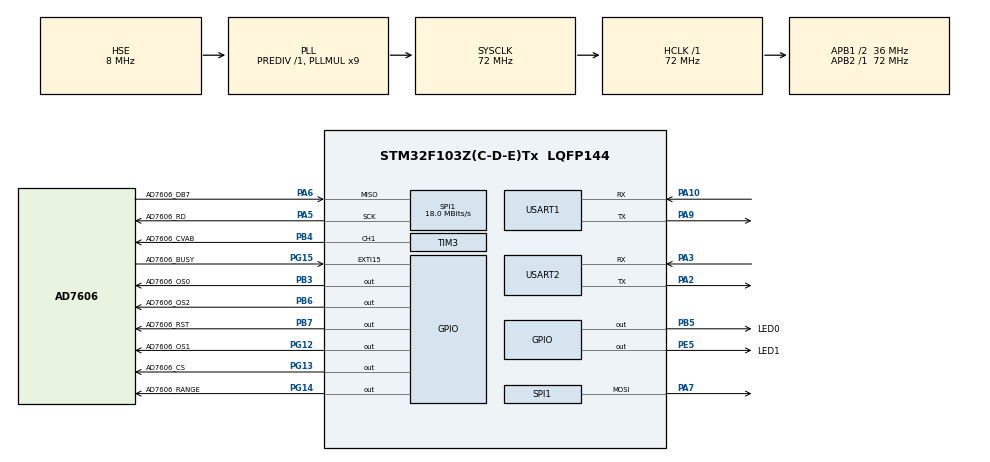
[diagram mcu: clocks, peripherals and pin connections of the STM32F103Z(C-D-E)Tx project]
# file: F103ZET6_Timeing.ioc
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Mcu.Family=STM32F1
Mcu.Name=STM32F103Z(C-D-E)Tx
Mcu.Package=LQFP144
NVIC.EXTI15_10_IRQn=true\:0\:2\:true\:false\:true\:true\:true\:true
NVIC.PriorityGroup=NVIC_PRIORITYGROUP_2
OSC_IN.Mode=HSE-External-Oscillator
OSC_IN.Signal=RCC_OSC_IN
OSC_OUT.Mode=HSE-External-Oscillator
OSC_OUT.Signal=RCC_OSC_OUT
PA10.Mode=Asynchronous
PA10.Signal=USART1_RX
PA13.Mode=Serial_Wire
PA13.Signal=SYS_JTMS-SWDIO
PA14.Mode=Serial_Wire
PA14.Signal=SYS_JTCK-SWCLK
PA2.Mode=Asynchronous
PA2.Signal=USART2_TX
PA3.Mode=Asynchronous
PA3.Signal=USART2_RX
PA5.GPIO_Label=AD7606_RD
PA5.Mode=Full_Duplex_Master
PA5.Signal=SPI1_SCK
PA6.GPIO_Label=AD7606_DB7
PA6.Mode=Full_Duplex_Master
PA6.Signal=SPI1_MISO
PA7.Mode=Full_Duplex_Master
PA7.Signal=SPI1_MOSI
PA9.Mode=Asynchronous
PA9.Signal=USART1_TX
PB3.GPIO_Label=AD7606_OS0
PB3.Signal=GPIO_Output
PB4.GPIO_Label=AD7606_CVAB
PB4.Signal=S_TIM3_CH1
PB5.GPIO_Label=LED0
PB5.GPIO_ModeDefaultOutputPP=GPIO_MODE_OUTPUT_OD
PB5.GPIO_PuPd=GPIO_PULLUP
PB5.GPIO_Speed=GPIO_SPEED_FREQ_HIGH
PB5.PinState=GPIO_PIN_RESET
PB5.Signal=GPIO_Output
PB6.GPIO_Label=AD7606_OS2
PB6.Signal=GPIO_Output
PB7.GPIO_Label=AD7606_RST
PB7.Signal=GPIO_Output
PE5.GPIO_Label=LED1
PE5.GPIO_ModeDefaultOutputPP=GPIO_MODE_OUTPUT_OD
PE5.GPIO_PuPd=GPIO_PULLUP
PE5.GPIO_Speed=GPIO_SPEED_FREQ_HIGH
PE5.PinState=GPIO_PIN_RESET
PE5.Signal=GPIO_Output
PG12.GPIO_Label=AD7606_OS1
PG12.Signal=GPIO_Output
PG13.GPIO_Label=AD7606_CS
PG13.PinState=GPIO_PIN_SET
PG13.Signal=GPIO_Output
PG14.GPIO_Label=AD7606_RANGE
PG14.Signal=GPIO_Output
PG15.GPIO_Label=AD7606_BUSY
PG15.GPIO_ModeDefaultEXTI=GPIO_MODE_IT_FALLING
PG15.GPIO_PuPd=GPIO_PULLUP
PG15.Signal=GPXTI15
ProjectManager.HeapSize=0x200
ProjectManager.StackSize=0x400
ProjectManager.TargetToolchain=MDK-ARM V5.32
RCC.AHBFreq_Value=72000000
RCC.APB1CLKDivider=RCC_HCLK_DIV2
RCC.APB1Freq_Value=36000000
RCC.APB1TimFreq_Value=72000000
RCC.APB2Freq_Value=72000000
RCC.APB2TimFreq_Value=72000000
RCC.HCLKFreq_Value=72000000
RCC.PLLMUL=RCC_PLL_MUL9
RCC.PLLSourceVirtual=RCC_PLLSOURCE_HSE
RCC.SYSCLKFreq_VALUE=72000000
RCC.SYSCLKSource=RCC_SYSCLKSOURCE_PLLCLK
RCC.USBFreq_Value=72000000
SH.S_TIM3_CH1.0=TIM3_CH1,PWM Generation1 CH1
SPI1.BaudRatePrescaler=SPI_BAUDRATEPRESCALER_4
SPI1.CLKPolarity=SPI_POLARITY_HIGH
SPI1.CalculateBaudRate=18.0 MBits/s
SPI1.DataSize=SPI_DATASIZE_16BIT
SPI1.Direction=SPI_DIRECTION_2LINES
SPI1.Mode=SPI_MODE_MASTER
SPI1.VirtualType=VM_MASTER
TIM3.Channel-PWM\ Generation1\ CH1=TIM_CHANNEL_1
TIM3.Period=1000-1
TIM3.Prescaler=36-1
TIM3.Pulse-PWM\ Generation1\ CH1=999-1
USART1.VirtualMode=VM_ASYNC
USART2.VirtualMode=VM_ASYNC
VP_TIM3_VS_ClockSourceINT.Mode=Internal
board=custom

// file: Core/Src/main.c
/* USER CODE BEGIN Header */
/**
  ******************************************************************************
  * @file           : main.c
  * @brief          : Main program body
  ******************************************************************************
  * @attention
  *
  * Copyright (c) 2023 STMicroelectronics.
  * All rights reserved.
  *
  * This software is licensed under terms that can be found in the LICENSE file
  * in the root directory of this software component.
  * If no LICENSE file comes with this software, it is provided AS-IS.
  *
  ******************************************************************************
  */
/* USER CODE END Header */
#include "main.h"
#include "spi.h"
#include "tim.h"
#include "usart.h"
#include "gpio.h"

/* USER CODE BEGIN Includes */
#include <stdio.h>
#include "ad7606.h"
#include <string.h>
#include <math.h>
/* USER CODE END Includes */

/* USER CODE BEGIN PM */
#define SAMPLING_POINTS  2
#define SAMPLING_FREQ 2000
#define SAMPLING_CHANNEL 2
#define RS485_PACK_SIZE 16
/* USER CODE END PM */

/* USER CODE BEGIN PV */

uint16_t ad7606Buff[SAMPLING_POINTS*SAMPLING_CHANNEL] = {0};
volatile uint8_t ad7606SamplingDoneFlag = 0;
uint8_t Flag = 0;
uint16_t nums = 0;

/* Table of CRC values for high¡§Corder byte */

/* Table of CRC values for low¡§Corder byte */

/* USER CODE END PV */

void SystemClock_Config(void);
/* USER CODE BEGIN PFP */

int16_t getADCValue(uint16_t code);
uint32_t AD7606ConvValue1(uint16_t code);

/* USER CODE END PFP */

int main(void)
{

  /* MCU Configuration--------------------------------------------------------*/

  /* Reset of all peripherals, Initializes the Flash interface and the Systick. */
  HAL_Init();

  /* Configure the system clock */
  SystemClock_Config();

  /* Initialize all configured peripherals */
  MX_GPIO_Init();
  MX_USART1_UART_Init();
  MX_SPI1_Init();
  MX_TIM3_Init();
  MX_USART2_UART_Init();
  /* USER CODE BEGIN 2 */

	AD7606Init();
	uint16_t cnt=0;

	HAL_Delay(50);
	AD7606Start();
	HAL_Delay(1);
	AD7606Stop();

  /* USER CODE END 2 */

  /* Infinite loop */
  while (1)
  {

    /* USER CODE BEGIN 3 */
		cnt++;
		HAL_Delay(20);

		if (cnt%10==0)
		{
			HAL_GPIO_TogglePin(LED1_GPIO_Port,LED1_Pin);
		}

		if(cnt==10*2)
		{
			memset(ad7606Buff,0,sizeof(ad7606Buff));
//			printf("AD7606 sampling start! \r\n");
			AD7606Start();
			cnt=0;
			nums=0;
		}

		if( ad7606SamplingDoneFlag )
		{
			AD7606Stop();
			ad7606SamplingDoneFlag = 0;
//	printf("AD7606 sampling end ! \r\n");
//	printf("data=%d mV   data2=0x%x \r\n",AD7606ConvValue1(ad7606Buff[0]),ad7606Buff[1]);
            printf("data1=%d mV data2=0x%x \r\n",AD7606ConvValue1(ad7606Buff[0]),ad7606Buff[1]);
		}
  }
  /* USER CODE END 3 */
}

void SystemClock_Config(void)
{
  RCC_OscInitTypeDef RCC_OscInitStruct = {0};
  RCC_ClkInitTypeDef RCC_ClkInitStruct = {0};

  /** Initializes the RCC Oscillators according to the specified parameters
  * in the RCC_OscInitTypeDef structure.
  */
  RCC_OscInitStruct.OscillatorType = RCC_OSCILLATORTYPE_HSE;
  RCC_OscInitStruct.HSEState = RCC_HSE_ON;
  RCC_OscInitStruct.HSEPredivValue = RCC_HSE_PREDIV_DIV1;
  RCC_OscInitStruct.HSIState = RCC_HSI_ON;
  RCC_OscInitStruct.PLL.PLLState = RCC_PLL_ON;
  RCC_OscInitStruct.PLL.PLLSource = RCC_PLLSOURCE_HSE;
  RCC_OscInitStruct.PLL.PLLMUL = RCC_PLL_MUL9;
  if (HAL_RCC_OscConfig(&RCC_OscInitStruct) != HAL_OK)
  {
    Error_Handler();
  }

  /** Initializes the CPU, AHB and APB buses clocks
  */
  RCC_ClkInitStruct.ClockType = RCC_CLOCKTYPE_HCLK|RCC_CLOCKTYPE_SYSCLK
                              |RCC_CLOCKTYPE_PCLK1|RCC_CLOCKTYPE_PCLK2;
  RCC_ClkInitStruct.SYSCLKSource = RCC_SYSCLKSOURCE_PLLCLK;
  RCC_ClkInitStruct.AHBCLKDivider = RCC_SYSCLK_DIV1;
  RCC_ClkInitStruct.APB1CLKDivider = RCC_HCLK_DIV2;
  RCC_ClkInitStruct.APB2CLKDivider = RCC_HCLK_DIV1;

  if (HAL_RCC_ClockConfig(&RCC_ClkInitStruct, FLASH_LATENCY_2) != HAL_OK)
  {
    Error_Handler();
  }
}

/* USER CODE BEGIN 4 */

uint32_t AD7606ConvValue1(uint16_t code)
{
    int _val;
    uint32_t adcValue;
    _val = code&0x8000 ? (-((~code+1)&0x7fff)) : code;
    adcValue = 5*1000*_val/32768;
    return adcValue;
}

int16_t getADCValue(uint16_t code)
{
    return code&0x8000 ? (-((~code+1)&0x7fff)) : code;
}

void HAL_GPIO_EXTI_Callback(uint16_t GPIO_Pin)
{
    if(GPIO_Pin == AD7606_BUSY_Pin){
        //read AD7606
        //			printf("read \r\n");
        if(nums < SAMPLING_POINTS){
            AD7606BusyIrqCallback(&(ad7606Buff[nums*SAMPLING_CHANNEL]),SAMPLING_CHANNEL);
            nums++;
            ad7606SamplingDoneFlag = 0;
        }
        else{
            ad7606SamplingDoneFlag = 1;
        }
    }
}

/* USER CODE END 4 */

void Error_Handler(void)
{
  __disable_irq();
  while (1)
  {
  }
}
